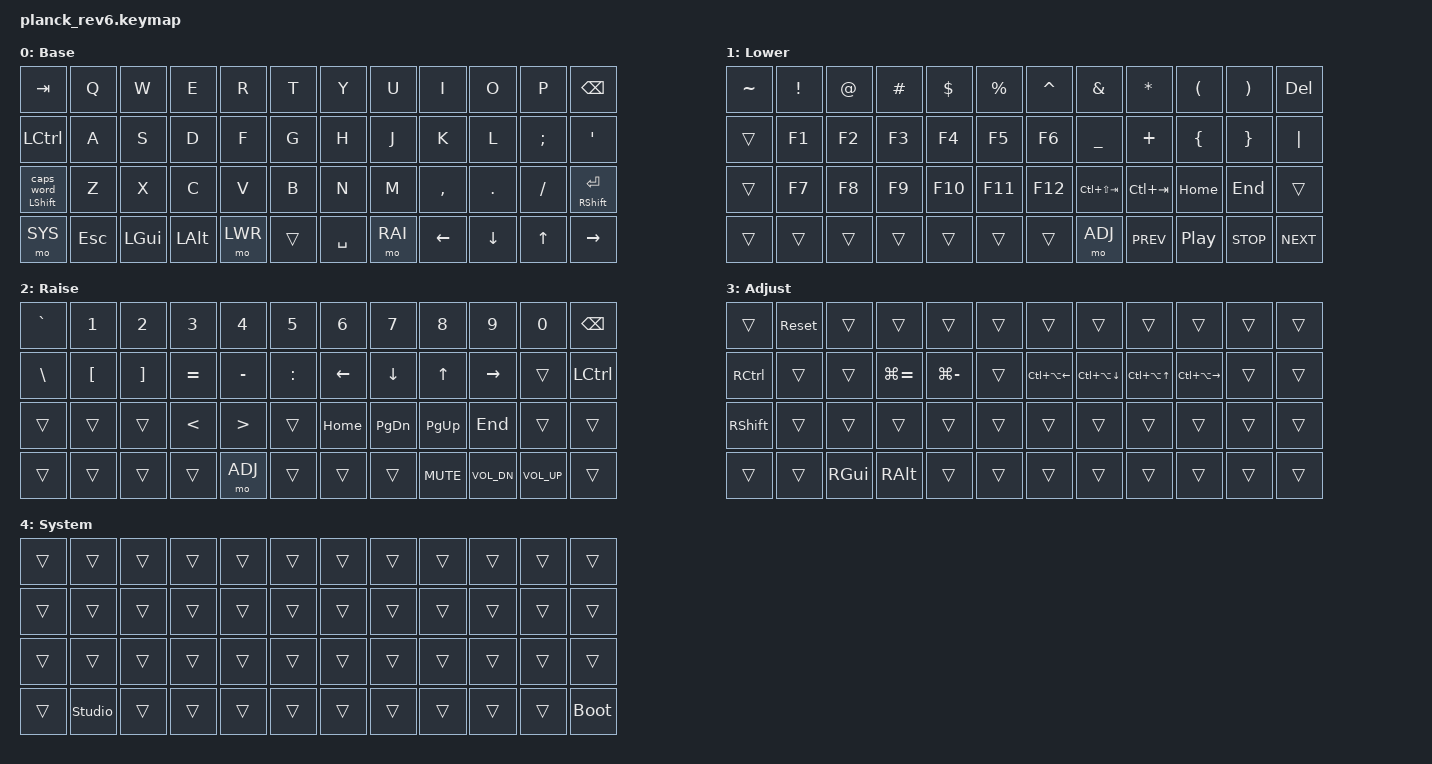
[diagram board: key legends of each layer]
/*
 * Copyright (c) 2020 The ZMK Contributors
 *
 * SPDX-License-Identifier: MIT
 */

#include <behaviors.dtsi>
#include <dt-bindings/zmk/keys.h>

#define DEF 0
#define LWR 1
#define RAI 2
#define ADJ 3
#define SYS 4

/ {
    behaviors {
        ct: caps_tap {
            compatible = "zmk,behavior-hold-tap";
            #binding-cells = <2>;
            flavor = "hold-preferred";
            tapping-term-ms = <200>;
            bindings = <&kp>, <&caps_word>;
            display-name = "Caps-Tap";
        };
    };

    keymap {
        compatible = "zmk,keymap";

        default_layer {
            display-name = "Base";
            bindings = <
                &kp TAB     &kp Q   &kp W    &kp E    &kp R   &kp T  &kp Y     &kp U   &kp I      &kp O   &kp P     &kp BSPC
                &kp LCTRL   &kp A   &kp S    &kp D    &kp F   &kp G  &kp H     &kp J   &kp K      &kp L   &kp SEMI  &kp SQT
                &ct LSHFT 0 &kp Z   &kp X    &kp C    &kp V   &kp B  &kp N     &kp M   &kp COMMA &kp DOT  &kp SLASH &mt RSHFT RET
                &mo SYS     &kp ESC &kp LGUI &kp LALT &mo LWR &trans &kp SPACE &mo RAI &kp LEFT   &kp DOWN &kp UP    &kp RIGHT
            >;
        };

        lower {
            display-name = "Lower";
            bindings = <
                &kp TILDE &kp EXCL &kp AT &kp HASH &kp DLLR &kp PRCNT &kp CARET &kp AMPS        &kp STAR    &kp LPAR &kp RPAR   &kp DEL
                &trans    &kp F1   &kp F2 &kp F3   &kp F4   &kp F5    &kp F6    &kp UNDER       &kp PLUS    &kp LBRC &kp RBRC   &kp PIPE
                &trans    &kp F7   &kp F8 &kp F9   &kp F10  &kp F11   &kp F12   &kp LC(LS(TAB)) &kp LC(TAB) &kp HOME &kp END    &trans
                &trans    &trans   &trans &trans   &trans   &trans    &trans    &mo ADJ         &kp C_PREV  &kp C_PP &kp C_STOP &kp C_NEXT
            >;
        };

        raise {
            display-name = "Raise";
            bindings = <
                &kp GRAVE &kp N1   &kp N2   &kp N3    &kp N4    &kp N5    &kp N6   &kp N7    &kp N8     &kp N9       &kp N0       &kp BSPC
                &kp BSLH  &kp LBKT &kp RBKT &kp EQUAL &kp MINUS &kp COLON &kp LEFT &kp DOWN  &kp UP     &kp RIGHT    &trans       &kp LCTRL
                &trans    &trans   &trans   &kp LT    &kp GT    &trans    &kp HOME &kp PG_DN &kp PG_UP  &kp END      &trans       &trans
                &trans    &trans   &trans   &trans    &mo ADJ   &trans    &trans   &trans    &kp C_MUTE &kp C_VOL_DN &kp C_VOL_UP &trans
            >;
        };

        adjust {
            display-name = "Adjust";
            bindings = <
                &trans    &sys_reset &trans   &trans        &trans        &trans &trans           &trans           &trans         &trans            &trans &trans
                &kp RCTRL &trans     &trans   &kp LG(EQUAL) &kp LG(MINUS) &trans &kp LC(LA(LEFT)) &kp LC(LA(DOWN)) &kp LC(LA(UP)) &kp LC(LA(RIGHT)) &trans &trans
                &kp RSHFT &trans     &trans   &trans        &trans        &trans &trans           &trans           &trans         &trans            &trans &trans
                &trans    &trans     &kp RGUI &kp RALT      &trans        &trans &trans           &trans           &trans         &trans            &trans &trans
            >;
        };

        system {
            display-name = "System";
            bindings = <
                &trans &trans         &trans &trans &trans &trans &trans &trans &trans &trans &trans &trans
                &trans &trans         &trans &trans &trans &trans &trans &trans &trans &trans &trans &trans
                &trans &trans         &trans &trans &trans &trans &trans &trans &trans &trans &trans &trans
                &trans &studio_unlock &trans &trans &trans &trans &trans &trans &trans &trans &trans &bootloader
            >;
        };
    };
};
